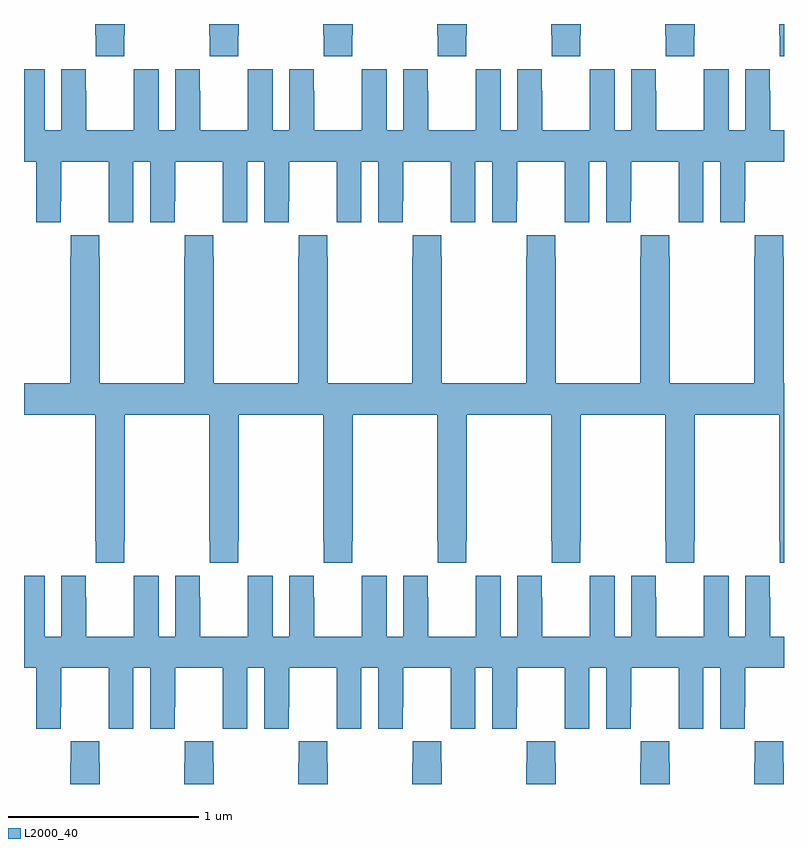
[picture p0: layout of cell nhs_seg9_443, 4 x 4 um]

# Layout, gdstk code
import gdstk
lib = gdstk.Library(unit=1e-6, precision=1e-09)
def P(c, l, *ps):  # polygons
    for p in ps: c.add(gdstk.Polygon(p, *l))
L2000_40 = (2000, 40)

nhs_seg9_443 = lib.new_cell('nhs_seg9_443')
P(nhs_seg9_443, L2000_40, [(134.127,1174.441),(134.13,1174.441),(134.13,1174.5),(133.975,1174.5),(133.975,1174.441),(133.977,1174.441),(133.977,1174.329),(134.127,1174.329)],
  [(134.727,1174.441),(134.73,1174.441),(134.73,1174.5),(134.575,1174.5),(134.575,1174.441),(134.577,1174.441),(134.577,1174.329),(134.727,1174.329)],
  [(135.327,1174.441),(135.33,1174.441),(135.33,1174.5),(135.175,1174.5),(135.175,1174.441),(135.177,1174.441),(135.177,1174.329),(135.327,1174.329)],
  [(135.927,1174.441),(135.93,1174.441),(135.93,1174.5),(135.775,1174.5),(135.775,1174.441),(135.777,1174.441),(135.777,1174.329),(135.927,1174.329)],
  [(136.527,1174.441),(136.53,1174.441),(136.53,1174.5),(136.375,1174.5),(136.375,1174.441),(136.377,1174.441),(136.377,1174.329),(136.527,1174.329)],
  [(137,1174.5),(136.975,1174.5),(136.975,1174.441),(136.977,1174.441),(136.977,1174.329),(137,1174.329)],
  [(133.527,1174.441),(133.53,1174.441),(133.53,1174.5),(133.375,1174.5),(133.375,1174.441),(133.377,1174.441),(133.377,1174.329),(133.527,1174.329)],
  [(133.927,1174.148),(133.926,1174.148),(133.926,1174.261),(133.796,1174.261),(133.796,1173.94),(133.708,1173.94),(133.708,1174.261),(133.578,1174.261),(133.578,1174.148),(133.577,1174.148),(133.577,1173.94),(133.327,1173.94),(133.327,1174.148),(133.326,1174.148),(133.326,1174.261),(133.196,1174.261),(133.196,1173.94),(133.108,1173.94),(133.108,1174.261),(133,1174.261),(133,1173.776),(133.064,1173.776),(133.064,1173.456),(133.194,1173.456),(133.194,1173.568),(133.195,1173.568),(133.195,1173.776),(133.445,1173.776),(133.445,1173.568),(133.446,1173.568),(133.446,1173.456),(133.576,1173.456),(133.576,1173.776),(133.664,1173.776),(133.664,1173.456),(133.794,1173.456),(133.794,1173.568),(133.795,1173.568),(133.795,1173.776),(134.045,1173.776),(134.045,1173.568),(134.046,1173.568),(134.046,1173.456),(134.176,1173.456),(134.176,1173.776),(134.264,1173.776),(134.264,1173.456),(134.394,1173.456),(134.394,1173.568),(134.395,1173.568),(134.395,1173.776),(134.645,1173.776),(134.645,1173.568),(134.646,1173.568),(134.646,1173.456),(134.776,1173.456),(134.776,1173.776),(134.864,1173.776),(134.864,1173.456),(134.994,1173.456),(134.994,1173.568),(134.995,1173.568),(134.995,1173.776),(135.245,1173.776),(135.245,1173.568),(135.246,1173.568),(135.246,1173.456),(135.376,1173.456),(135.376,1173.776),(135.464,1173.776),(135.464,1173.456),(135.594,1173.456),(135.594,1173.568),(135.595,1173.568),(135.595,1173.776),(135.845,1173.776),(135.845,1173.568),(135.846,1173.568),(135.846,1173.456),(135.976,1173.456),(135.976,1173.776),(136.064,1173.776),(136.064,1173.456),(136.194,1173.456),(136.194,1173.568),(136.195,1173.568),(136.195,1173.776),(136.445,1173.776),(136.445,1173.568),(136.446,1173.568),(136.446,1173.456),(136.576,1173.456),(136.576,1173.776),(136.664,1173.776),(136.664,1173.456),(136.794,1173.456),(136.794,1173.568),(136.795,1173.568),(136.795,1173.776),(137,1173.776),(137,1173.94),(136.927,1173.94),(136.927,1174.148),(136.926,1174.148),(136.926,1174.261),(136.796,1174.261),(136.796,1173.94),(136.708,1173.94),(136.708,1174.261),(136.578,1174.261),(136.578,1174.148),(136.577,1174.148),(136.577,1173.94),(136.327,1173.94),(136.327,1174.148),(136.326,1174.148),(136.326,1174.261),(136.196,1174.261),(136.196,1173.94),(136.108,1173.94),(136.108,1174.261),(135.978,1174.261),(135.978,1174.148),(135.977,1174.148),(135.977,1173.94),(135.727,1173.94),(135.727,1174.148),(135.726,1174.148),(135.726,1174.261),(135.596,1174.261),(135.596,1173.94),(135.508,1173.94),(135.508,1174.261),(135.378,1174.261),(135.378,1174.148),(135.377,1174.148),(135.377,1173.94),(135.127,1173.94),(135.127,1174.148),(135.126,1174.148),(135.126,1174.261),(134.996,1174.261),(134.996,1173.94),(134.908,1173.94),(134.908,1174.261),(134.778,1174.261),(134.778,1174.148),(134.777,1174.148),(134.777,1173.94),(134.527,1173.94),(134.527,1174.148),(134.526,1174.148),(134.526,1174.261),(134.396,1174.261),(134.396,1173.94),(134.308,1173.94),(134.308,1174.261),(134.178,1174.261),(134.178,1174.148),(134.177,1174.148),(134.177,1173.94),(133.927,1173.94)],
  [(135.045,1173.388),(135.045,1173.275),(135.043,1173.275),(135.043,1172.608),(134.598,1172.608),(134.598,1173.275),(134.595,1173.275),(134.595,1173.388),(134.445,1173.388),(134.445,1173.275),(134.443,1173.275),(134.443,1172.608),(133.998,1172.608),(133.998,1173.275),(133.995,1173.275),(133.995,1173.388),(133.845,1173.388),(133.845,1173.275),(133.843,1173.275),(133.843,1172.608),(133.398,1172.608),(133.398,1173.275),(133.395,1173.275),(133.395,1173.388),(133.245,1173.388),(133.245,1173.275),(133.243,1173.275),(133.243,1172.608),(133,1172.608),(133,1172.444),(133.375,1172.444),(133.375,1171.777),(133.377,1171.777),(133.377,1171.665),(133.527,1171.665),(133.527,1171.777),(133.53,1171.777),(133.53,1172.444),(133.975,1172.444),(133.975,1171.777),(133.977,1171.777),(133.977,1171.665),(134.127,1171.665),(134.127,1171.777),(134.13,1171.777),(134.13,1172.444),(134.575,1172.444),(134.575,1171.777),(134.577,1171.777),(134.577,1171.665),(134.727,1171.665),(134.727,1171.777),(134.73,1171.777),(134.73,1172.444),(135.175,1172.444),(135.175,1171.777),(135.177,1171.777),(135.177,1171.665),(135.327,1171.665),(135.327,1171.777),(135.33,1171.777),(135.33,1172.444),(135.775,1172.444),(135.775,1171.777),(135.777,1171.777),(135.777,1171.665),(135.927,1171.665),(135.927,1171.777),(135.93,1171.777),(135.93,1172.444),(136.375,1172.444),(136.375,1171.777),(136.377,1171.777),(136.377,1171.665),(136.527,1171.665),(136.527,1171.777),(136.53,1171.777),(136.53,1172.444),(136.975,1172.444),(136.975,1171.777),(136.977,1171.777),(136.977,1171.665),(137,1171.665),(137,1172.608),(136.998,1172.608),(136.998,1173.275),(136.995,1173.275),(136.995,1173.388),(136.845,1173.388),(136.845,1173.275),(136.843,1173.275),(136.843,1172.608),(136.398,1172.608),(136.398,1173.275),(136.395,1173.275),(136.395,1173.388),(136.245,1173.388),(136.245,1173.275),(136.243,1173.275),(136.243,1172.608),(135.798,1172.608),(135.798,1173.275),(135.795,1173.275),(135.795,1173.388),(135.645,1173.388),(135.645,1173.275),(135.643,1173.275),(135.643,1172.608),(135.198,1172.608),(135.198,1173.275),(135.195,1173.275),(135.195,1173.388)],
  [(134.045,1170.904),(134.046,1170.904),(134.046,1170.792),(134.176,1170.792),(134.176,1171.112),(134.264,1171.112),(134.264,1170.792),(134.394,1170.792),(134.394,1170.904),(134.395,1170.904),(134.395,1171.112),(134.645,1171.112),(134.645,1170.904),(134.646,1170.904),(134.646,1170.792),(134.776,1170.792),(134.776,1171.112),(134.864,1171.112),(134.864,1170.792),(134.994,1170.792),(134.994,1170.904),(134.995,1170.904),(134.995,1171.112),(135.245,1171.112),(135.245,1170.904),(135.246,1170.904),(135.246,1170.792),(135.376,1170.792),(135.376,1171.112),(135.464,1171.112),(135.464,1170.792),(135.594,1170.792),(135.594,1170.904),(135.595,1170.904),(135.595,1171.112),(135.845,1171.112),(135.845,1170.904),(135.846,1170.904),(135.846,1170.792),(135.976,1170.792),(135.976,1171.112),(136.064,1171.112),(136.064,1170.792),(136.194,1170.792),(136.194,1170.904),(136.195,1170.904),(136.195,1171.112),(136.445,1171.112),(136.445,1170.904),(136.446,1170.904),(136.446,1170.792),(136.576,1170.792),(136.576,1171.112),(136.664,1171.112),(136.664,1170.792),(136.794,1170.792),(136.794,1170.904),(136.795,1170.904),(136.795,1171.112),(137,1171.112),(137,1171.276),(136.927,1171.276),(136.927,1171.484),(136.926,1171.484),(136.926,1171.597),(136.796,1171.597),(136.796,1171.276),(136.708,1171.276),(136.708,1171.597),(136.578,1171.597),(136.578,1171.484),(136.577,1171.484),(136.577,1171.276),(136.327,1171.276),(136.327,1171.484),(136.326,1171.484),(136.326,1171.597),(136.196,1171.597),(136.196,1171.276),(136.108,1171.276),(136.108,1171.597),(135.978,1171.597),(135.978,1171.484),(135.977,1171.484),(135.977,1171.276),(135.727,1171.276),(135.727,1171.484),(135.726,1171.484),(135.726,1171.597),(135.596,1171.597),(135.596,1171.276),(135.508,1171.276),(135.508,1171.597),(135.378,1171.597),(135.378,1171.484),(135.377,1171.484),(135.377,1171.276),(135.127,1171.276),(135.127,1171.484),(135.126,1171.484),(135.126,1171.597),(134.996,1171.597),(134.996,1171.276),(134.908,1171.276),(134.908,1171.597),(134.778,1171.597),(134.778,1171.484),(134.777,1171.484),(134.777,1171.276),(134.527,1171.276),(134.527,1171.484),(134.526,1171.484),(134.526,1171.597),(134.396,1171.597),(134.396,1171.276),(134.308,1171.276),(134.308,1171.597),(134.178,1171.597),(134.178,1171.484),(134.177,1171.484),(134.177,1171.276),(133.927,1171.276),(133.927,1171.484),(133.926,1171.484),(133.926,1171.597),(133.796,1171.597),(133.796,1171.276),(133.708,1171.276),(133.708,1171.597),(133.578,1171.597),(133.578,1171.484),(133.577,1171.484),(133.577,1171.276),(133.327,1171.276),(133.327,1171.484),(133.326,1171.484),(133.326,1171.597),(133.196,1171.597),(133.196,1171.276),(133.108,1171.276),(133.108,1171.597),(133,1171.597),(133,1171.112),(133.064,1171.112),(133.064,1170.792),(133.194,1170.792),(133.194,1170.904),(133.195,1170.904),(133.195,1171.112),(133.445,1171.112),(133.445,1170.904),(133.446,1170.904),(133.446,1170.792),(133.576,1170.792),(133.576,1171.112),(133.664,1171.112),(133.664,1170.792),(133.794,1170.792),(133.794,1170.904),(133.795,1170.904),(133.795,1171.112),(134.045,1171.112)],
  [(133.398,1170.611),(133.395,1170.611),(133.395,1170.724),(133.245,1170.724),(133.245,1170.611),(133.243,1170.611),(133.243,1170.5),(133.398,1170.5)],
  [(133.998,1170.611),(133.995,1170.611),(133.995,1170.724),(133.845,1170.724),(133.845,1170.611),(133.843,1170.611),(133.843,1170.5),(133.998,1170.5)],
  [(134.598,1170.611),(134.595,1170.611),(134.595,1170.724),(134.445,1170.724),(134.445,1170.611),(134.443,1170.611),(134.443,1170.5),(134.598,1170.5)],
  [(135.198,1170.611),(135.195,1170.611),(135.195,1170.724),(135.045,1170.724),(135.045,1170.611),(135.043,1170.611),(135.043,1170.5),(135.198,1170.5)],
  [(135.798,1170.611),(135.795,1170.611),(135.795,1170.724),(135.645,1170.724),(135.645,1170.611),(135.643,1170.611),(135.643,1170.5),(135.798,1170.5)],
  [(136.998,1170.611),(136.995,1170.611),(136.995,1170.724),(136.845,1170.724),(136.845,1170.611),(136.843,1170.611),(136.843,1170.5),(136.998,1170.5)],
  [(136.398,1170.611),(136.395,1170.611),(136.395,1170.724),(136.245,1170.724),(136.245,1170.611),(136.243,1170.611),(136.243,1170.5),(136.398,1170.5)])

lib.write_gds('nhs_seg9_443.gds')
